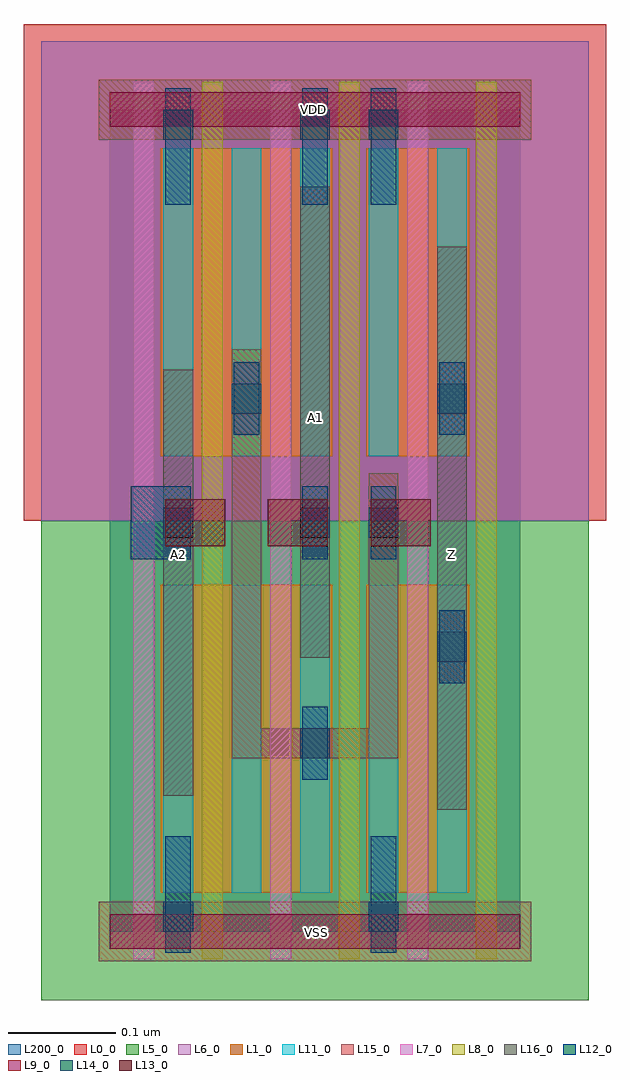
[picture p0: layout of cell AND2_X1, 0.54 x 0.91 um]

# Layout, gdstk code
import gdstk
lib = gdstk.Library(unit=1e-6, precision=1e-09)
def R(c, l, rs):  # rectangles x0, y0, x1, y1
    for r in rs: c.add(gdstk.rectangle(r[:2], r[2:], *l))
def A(c, l, x, y, w, h, nx, ny, dx, dy):  # array of equal rectangles
    R(c, l, [(x+i*dx, y+j*dy, x+i*dx+w, y+j*dy+h) for i in range(nx) for j in range(ny)])
def P(c, l, *ps):  # polygons
    for p in ps: c.add(gdstk.Polygon(p, *l))
L0_0 = (0, 0)
L1_0 = (1, 0)
L5_0 = (5, 0)
L6_0 = (6, 0)
L7_0 = (7, 0)
L8_0 = (8, 0)
L9_0 = (9, 0)
L11_0 = (11, 0)
L12_0 = (12, 0)
L13_0 = (13, 0)
L14_0 = (14, 0)
L15_0 = (15, 0)
L16_0 = (16, 0)
L200_0 = (200, 0)

and2_x1 = lib.new_cell('AND2_X1')
R(and2_x1, L0_0, [(-0.08,0.384,0.464,0.848)])
R(and2_x1, L1_0, [(0.048,0.036,0.208,0.324), (0.24,0.036,0.336,0.324), (0.048,0.444,0.208,0.732), (0.24,0.444,0.336,0.732)])
R(and2_x1, L5_0, [(-0.064,-0.064,0.448,0.384)])
R(and2_x1, L6_0, [(-0.064,0.384,0.448,0.832)])
A(and2_x1, L7_0, 0.022, -0.026, 0.02, 0.82, 3, 1, 0.128, 0)
A(and2_x1, L8_0, 0.086, -0.026, 0.02, 0.82, 3, 1, 0.128, 0)
R(and2_x1, L9_0, [(0,-0.016,0.384,0.016), (0,0.752,0.384,0.784)])
A(and2_x1, L11_0, 0.05, 0.036, 0.028, 0.288, 5, 2, 0.064, 0.408)
R(and2_x1, L12_0, [(0.052,-0.02,0.076,0.089), (0.244,-0.02,0.268,0.089), (0.18,0.142,0.204,0.21), (0.308,0.232,0.332,0.3), (0.02,0.348,0.076,0.416), (0.18,0.348,0.204,0.416), (0.244,0.348,0.268,0.416), (0.116,0.464,0.14,0.532), (0.308,0.464,0.332,0.532), (0.052,0.679,0.076,0.788), (0.18,0.679,0.204,0.788), (0.244,0.679,0.268,0.788)])
A(and2_x1, L13_0, 0.052, 0.36, 0.056, 0.044, 3, 1, 0.096, 0)
R(and2_x1, L14_0, [(0.05,0,0.078,0.028), (0.242,0,0.27,0.028), (0.178,0.162,0.206,0.19), (0.306,0.252,0.334,0.28), (0.05,0.368,0.078,0.396), (0.178,0.368,0.206,0.396), (0.242,0.368,0.27,0.396), (0.114,0.484,0.142,0.512), (0.306,0.484,0.334,0.512), (0.05,0.74,0.078,0.768), (0.178,0.74,0.206,0.768), (0.242,0.74,0.27,0.768)])
R(and2_x1, L15_0, [(-0.01,-0.028,0.394,0.028), (-0.01,0.74,0.394,0.796)])
P(and2_x1, L15_0, [(0.114,0.162),(0.27,0.162),(0.27,0.428),(0.242,0.428),(0.242,0.19),(0.142,0.19),(0.142,0.544),(0.114,0.544)])
R(and2_x1, L16_0, [(0.306,0.114,0.334,0.64), (0.05,0.127,0.078,0.525), (0.178,0.256,0.206,0.696)])
R(and2_x1, L200_0, [(0,0,0.384,0.768)])
and2_x1.add(gdstk.Label('VSS', (0.193,-0.001), layer=15, texttype=20))
and2_x1.add(gdstk.Label('VDD', (0.191,0.768), layer=15, texttype=20))
and2_x1.add(gdstk.Label('A2', (0.064,0.352), layer=16, texttype=20))
and2_x1.add(gdstk.Label('Z', (0.32,0.352), layer=16, texttype=20))
and2_x1.add(gdstk.Label('A1', (0.192,0.48), layer=16, texttype=20))

lib.write_gds('AND2_X1.gds')
